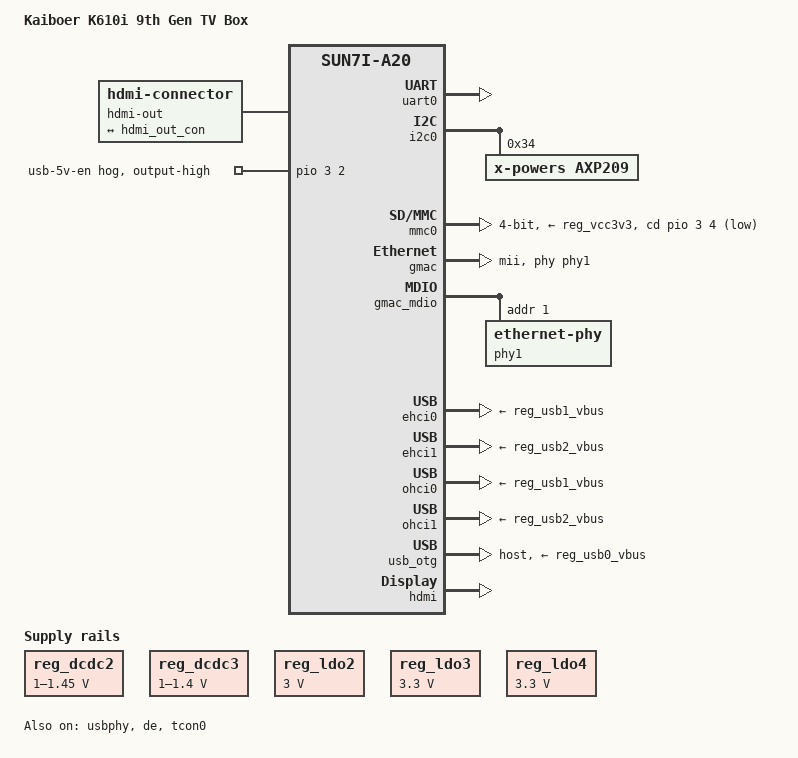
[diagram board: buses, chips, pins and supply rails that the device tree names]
// SPDX-License-Identifier: GPL-2.0+ OR MIT
/*
 * Kaiboer K610i 9th Gen TV Box (Allwinner A20/sun7i)
 * Based on vendor sys_config.fex: MMC0 PF0-5/CD PD4, UART0 PB22/23,
 * USB1 vbus PH6, USB2 vbus PH3, OTG id PH4/drv_vbus PB9, AXP209 @0x34.
 */
/dts-v1/;
#include "sun7i-a20.dtsi"
#include "sunxi-common-regulators.dtsi"
#include <dt-bindings/gpio/gpio.h>
#include <dt-bindings/interrupt-controller/irq.h>

/ {
	model = "Kaiboer K610i 9th Gen TV Box";
	compatible = "kaiboer,k610i-gen9", "allwinner,sun7i-a20";

	aliases {
		serial0 = &uart0;
		mmc0 = &mmc0;
//		ethernet0 = &gmac;
	};

	chosen {
		stdout-path = "serial0:115200n8";
// 		bootargs = "console=ttyS0,115200 console=tty0 root=/dev/mmcblk0p2 rootwait rw";
	};

//	/* SD slot fixed 3.3V; FEX sdc_regulator=none */
//	reg_vcc3v3_mmc0: vcc3v3-mmc0 {
//		compatible = "regulator-fixed";
//		regulator-name = "vcc3v3-mmc0";
//		regulator-min-microvolt = <3300000>;
//		regulator-max-microvolt = <3300000>;
//		regulator-always-on;
//	};
//

	hdmi-out {
		compatible = "hdmi-connector";
		type = "a";
		port {
			hdmi_con_in: endpoint {
				remote-endpoint = <&hdmi_out_con>;
			};
		};
	};
};

&pio {
	usb_5v_en: usb-5v-en {
		gpio-hog;
		gpios = <3 2 GPIO_ACTIVE_HIGH>;	/* PD2 */
		output-high;
		line-name = "usb-5v-en";
	};
};

	/* OTG vbus drive via PB09 (FEX usb_drv_vbus_gpio=PB09) */
&reg_usb0_vbus {
    gpio = <&pio 1 9 GPIO_ACTIVE_HIGH>; /* PB09 */
    enable-active-high;
    regulator-always-on;
    status = "okay";
};
	/* USB1 host vbus PH06 (FEX usbc1 drv_vbus) */
&reg_usb1_vbus {
    gpio = <&pio 7 6 GPIO_ACTIVE_HIGH>; /* PH06 */
    enable-active-high;
    regulator-always-on;
    status = "okay";
};
	/* USB2 host vbus PH03 (FEX usbc2 drv_vbus) */
&reg_usb2_vbus {
    gpio = <&pio 7 3 GPIO_ACTIVE_HIGH>; /* PH03 */
    enable-active-high;
    regulator-always-on;
    status = "okay";
};

&cpu0 {
	cpu-supply = <&reg_dcdc2>;
};

&uart0 {
	pinctrl-names = "default";
	pinctrl-0 = <&uart0_pb_pins>;
	status = "okay";
};

&i2c0 {
//	pinctrl-names = "default";
//	pinctrl-0 = <&i2c0_pins>;
	status = "okay";

	axp209: pmic@34 {
		compatible = "x-powers,axp209";
		reg = <0x34>;
		interrupt-parent = <&nmi_intc>;
		interrupts = <0 IRQ_TYPE_LEVEL_LOW>;
//		interrupt-controller;
		#interrupt-cells = <1>;
	};
};

&mmc0 {
	pinctrl-names = "default";
	pinctrl-0 = <&mmc0_pins>;
	vmmc-supply = <&reg_vcc3v3>;
	bus-width = <4>;
	/*
	 * FEX mmc0: sdc_det=PD4, sdc_detmode=1, active low.
	 * If U-Boot keeps printing "MMC: no card present" on a soldered slot,
	 * comment cd-gpios and use:
	 *   non-removable;
	 *   max-frequency = <25000000>;
	 */
	cd-gpios = <&pio 3 4 GPIO_ACTIVE_LOW>; /* PD04 */
	max-frequency = <50000000>;
	status = "okay";
};

/* 百兆 EMAC，引用 dtsi 里已有的 emac_pa_pins */
&gmac {
	pinctrl-names = "default";
	pinctrl-0 = <&gmac_mii_pins>;
	phy-handle = <&phy1>;
	phy-mode = "mii";
//	allwinner,sram = <&emac_sram 1>;
//	reset-gpios = <&pio 0 17 GPIO_ACTIVE_LOW>; /* PA17 复位，低电平有效 */
	status = "okay";
};

&gmac_mdio {
	#address-cells = <1>;
	#size-cells = <0>;

	phy1: ethernet-phy@1 {
		reg = <1>;
	};
};

// &gmac {
//	status = "disabled";
// };

&ehci0 { 
	status = "okay"; 
	vbus-supply = <&reg_usb1_vbus>;
};

&ehci1 { 
	status = "okay"; 
	vbus-supply = <&reg_usb2_vbus>;
};

&ohci0 { 
	status = "okay";
	vbus-supply = <&reg_usb1_vbus>;
};

&ohci1 { 
	status = "okay"; 
	vbus-supply = <&reg_usb2_vbus>;
};

&otg_sram { 
	status = "okay"; 
};

&usb_otg {
	dr_mode = "host";
	status = "okay";
	vbus-supply = <&reg_usb0_vbus>;
};

&usbphy {
	status = "okay";
	usb0_vbus-supply = <&reg_usb0_vbus>;
	usb1_vbus-supply = <&reg_usb1_vbus>;
	usb2_vbus-supply = <&reg_usb2_vbus>;
};

&hdmi {
	status = "okay";
};

&hdmi_out {
	hdmi_out_con: endpoint {
		remote-endpoint = <&hdmi_con_in>;
	};
};

&de { 
	status = "okay"; 
};

&tcon0 { 
	status = "okay"; 
};

#include "axp209.dtsi"

&ac_power_supply {
	status = "okay";
};

&reg_dcdc2 {
	regulator-always-on;
	regulator-min-microvolt = <1000000>;
	regulator-max-microvolt = <1450000>;
	regulator-name = "vdd-cpu";
};

&reg_dcdc3 {
	regulator-always-on;
	regulator-min-microvolt = <1000000>;
	regulator-max-microvolt = <1400000>;
	regulator-name = "vdd-int-dll";
};

&reg_ldo1 {
	regulator-always-on;
	regulator-name = "vdd-rtc";
};

&reg_ldo2 {
	regulator-always-on;
	regulator-min-microvolt = <3000000>;
	regulator-max-microvolt = <3000000>;
	regulator-name = "avcc-pll";
};

&reg_ldo3 {
//	regulator-always-on;
	regulator-min-microvolt = <3300000>;
	regulator-max-microvolt = <3300000>;
	regulator-name = "vcc-pll-3v3";
};

&reg_ldo4 {
	regulator-always-on;
	regulator-min-microvolt = <3300000>;
	regulator-max-microvolt = <3300000>;
	regulator-name = "vcc-pg";
};
